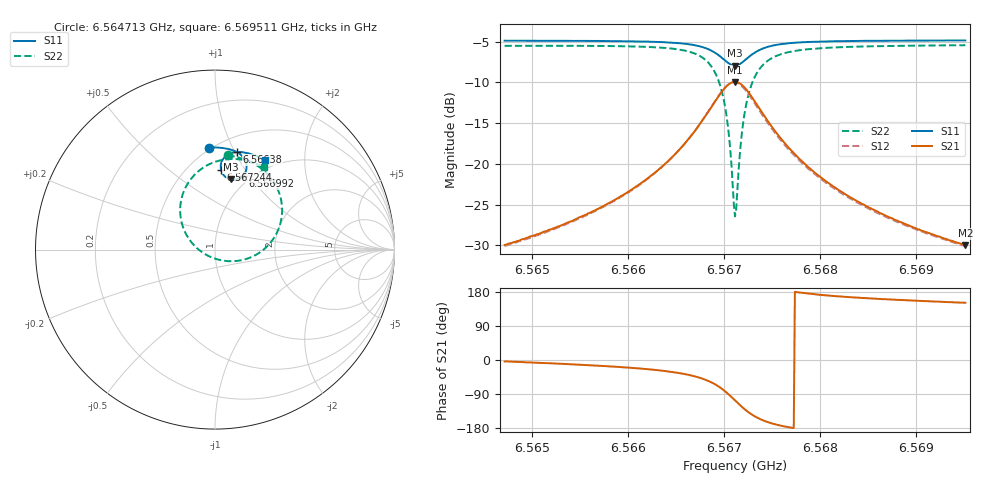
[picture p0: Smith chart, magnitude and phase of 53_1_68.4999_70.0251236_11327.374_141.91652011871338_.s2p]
#  HZ  S  RI  R  50.00
! Rohde & Schwarz Vector Network Analyzer
! Rohde-Schwarz,ZNB20-2Port,1311601062101988,3.16
! Created: UTC 3/20/2024, 4:50:55 PM
! freq[Hz]  re:S11  im:S11  re:S21  im:S21  re:S12  im:S12  re:S22  im:S22
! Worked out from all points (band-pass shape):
!   401 points, 6.564713 GHz to 6.569511 GHz, reference 50 ohm
!   highest |S21| = -9.94 dB at 6.567112 GHz (marker M1); lowest = -30.0 dB at 6.569511 GHz (marker M2)
!   |S21| within 3 dB of the highest: 6.566871 GHz to 6.567351 GHz (479.9 kHz wide, 0.00731 % of centre)
!   lowest |S11| = -8.0 dB at 6.567112 GHz (marker M3), VSWR 2.33, Z = 42.6 + j39.6 ohm
!   |S11| at or under -10 dB: nowhere
!   |S22| runs from -26.4 to -5.4 dB; largest |S21 - S12| = 0.017
!   S11 on the Smith chart (normalised r, x): 6.564713 GHz: 0.49, +0.82; 6.56638 GHz: 0.65, +1.02; 6.566992 GHz: 0.92, +0.93; 6.567244 GHz: 0.71, +0.79; 6.569511 GHz: 0.87, +1.29
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6.5647129e9  -0.034 0.5684  0.0317 -0.00217  0.0312 -0.0026  0.0698 0.5248
6.5655166e9  0.0337 0.5671  0.0464 -0.0106  0.0455 -0.0111  0.1517 0.5069
6.5659605e9  0.0752 0.5603  0.0615 -0.0216  0.0605 -0.0222  0.2098 0.4825
6.5663203e9  0.1137 0.5473  0.0824 -0.0424  0.0811 -0.0435  0.2729 0.4394
6.5663803e9  0.1209 0.5438  0.0872 -0.0483  0.0858 -0.0494  0.2855 0.4279
6.5666202e9  0.1517 0.5209  0.1094 -0.0877  0.1076 -0.0895  0.3426 0.3505
6.5668002e9  0.1733 0.484  0.1206 -0.1531  0.1176 -0.1564  0.3741 0.2244
6.5669081e9  0.1743 0.4459  0.1041 -0.2199  0.0978 -0.2246  0.3461 0.0966
6.5669921e9  0.1553 0.4107  0.0538 -0.2802  0.0426 -0.2835  0.2512 -0.0147
6.5670401e9  0.1325 0.3948  0.00326 -0.3052  -0.0107 -0.3056  0.1566 -0.057
6.5670881e9  0.1027 0.3887  -0.0589 -0.3115  -0.074 -0.3068  0.0431 -0.0612
6.5671121e9  0.087 0.3906  -0.0909 -0.3051  -0.1055 -0.2977  -0.0133 -0.0458
6.5671361e9  0.0722 0.396  -0.1211 -0.2926  -0.1343 -0.2827  -0.0652 -0.0192
6.5671721e9  0.0532 0.4094  -0.1591 -0.2644  -0.1695 -0.2519  -0.1278 0.0365
6.5671961e9  0.0438 0.4207  -0.1783 -0.2415  -0.1864 -0.2279  -0.1579 0.0798
6.567244e9  0.0333 0.4454  -0.2016 -0.1925  -0.2049 -0.1787  -0.1897 0.169
6.56734e9  0.0367 0.4884  -0.2033 -0.1094  -0.2011 -0.0988  -0.1777 0.3142
6.567484e9  0.0639 0.5237  -0.1677 -0.0406  -0.1639 -0.0347  -0.1011 0.4292
6.5676519e9  0.0955 0.5393  -0.1292 -0.00782  -0.1259 -0.00463  -0.0203 0.481
6.5679158e9  0.1343 0.5438  -0.0906 0.0093  -0.0884 0.0108  0.0655 0.5033
6.5687196e9  0.2147 0.5272  -0.0441 0.0161  -0.0431 0.0166  0.1989 0.4892
6.5695113e9  0.2758 0.5001  -0.0278 0.0153  -0.0273 0.0155  0.2752 0.4576
